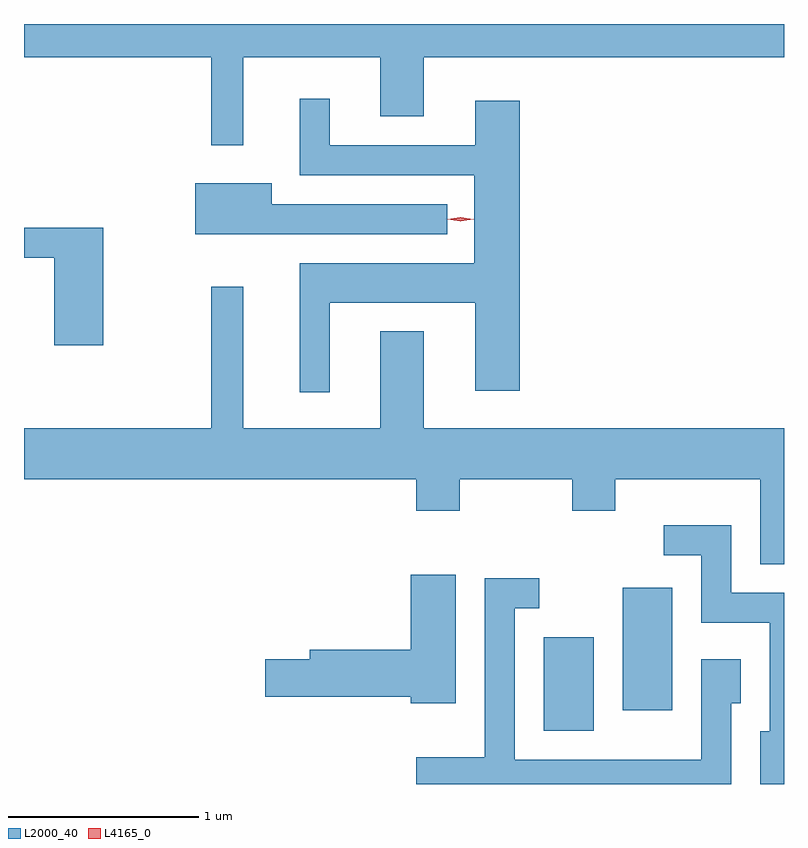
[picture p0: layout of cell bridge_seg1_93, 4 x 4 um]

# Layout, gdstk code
import gdstk
lib = gdstk.Library(unit=1e-6, precision=1e-09)
def R(c, l, rs):  # rectangles x0, y0, x1, y1
    for r in rs: c.add(gdstk.rectangle(r[:2], r[2:], *l))
def P(c, l, *ps):  # polygons
    for p in ps: c.add(gdstk.Polygon(p, *l))
L2000_40 = (2000, 40)
L4165_0 = (4165, 0)

bridge_seg1_93 = lib.new_cell('bridge_seg1_93')
R(bridge_seg1_93, L2000_40, [(1199.081,944.871,1199.344,945.364), (1199.496,944.981,1199.759,945.624)])
P(bridge_seg1_93, L2000_40, [(1197.499,948.416),(1198.221,948.416),(1198.221,948.106),(1198.449,948.106),(1198.449,948.416),(1200.346,948.416),(1200.346,948.592),(1196.346,948.592),(1196.346,948.416),(1197.331,948.416),(1197.331,947.953),(1197.499,947.953)],
  [(1197.954,947.126),(1198.721,947.126),(1198.721,946.661),(1198.954,946.661),(1198.954,948.189),(1198.721,948.189),(1198.721,947.954),(1197.954,947.954),(1197.954,948.198),(1197.796,948.198),(1197.796,947.796),(1198.716,947.796),(1198.716,947.334),(1197.796,947.334),(1197.796,946.653),(1197.954,946.653)],
  [(1198.573,947.644),(1197.649,947.644),(1197.649,947.754),(1197.246,947.754),(1197.246,947.486),(1198.573,947.486)],
  [(1196.764,947.519),(1196.346,947.519),(1196.346,947.361),(1196.506,947.361),(1196.506,946.901),(1196.764,946.901)],
  [(1200.346,946.464),(1198.449,946.464),(1198.449,946.974),(1198.221,946.974),(1198.221,946.464),(1197.499,946.464),(1197.499,947.208),(1197.331,947.208),(1197.331,946.464),(1196.346,946.464),(1196.346,946.196),(1198.411,946.196),(1198.411,946.031),(1198.639,946.031),(1198.639,946.196),(1199.231,946.196),(1199.231,946.031),(1199.459,946.031),(1199.459,946.196),(1200.221,946.196),(1200.221,945.748),(1200.346,945.748)],
  [(1200.346,945.599),(1200.069,945.599),(1200.069,945.954),(1199.713,945.954),(1199.713,945.796),(1199.911,945.796),(1199.911,945.441),(1200.271,945.441),(1200.271,944.869),(1200.221,944.869),(1200.221,944.592),(1200.346,944.592)],
  [(1198.619,945.694),(1198.381,945.694),(1198.381,945.299),(1197.851,945.299),(1197.851,945.249),(1197.616,945.249),(1197.616,945.051),(1198.381,945.051),(1198.381,945.016),(1198.619,945.016)],
  [(1200.069,945.016),(1200.119,945.016),(1200.119,945.249),(1199.911,945.249),(1199.911,944.719),(1198.929,944.719),(1198.929,945.516),(1199.058,945.516),(1199.058,945.674),(1198.771,945.674),(1198.771,944.734),(1198.411,944.734),(1198.411,944.592),(1200.069,944.592)])
P(bridge_seg1_93, L4165_0, [(1198.643,947.555),(1198.574,947.564),(1198.573,947.565),(1198.574,947.565),(1198.643,947.575),(1198.712,947.565),(1198.712,947.565),(1198.712,947.564)],
  [(1198.644,947.555),(1198.578,947.564),(1198.577,947.565),(1198.578,947.565),(1198.644,947.575),(1198.709,947.565),(1198.71,947.565),(1198.709,947.564)])

lib.write_gds('bridge_seg1_93.gds')
